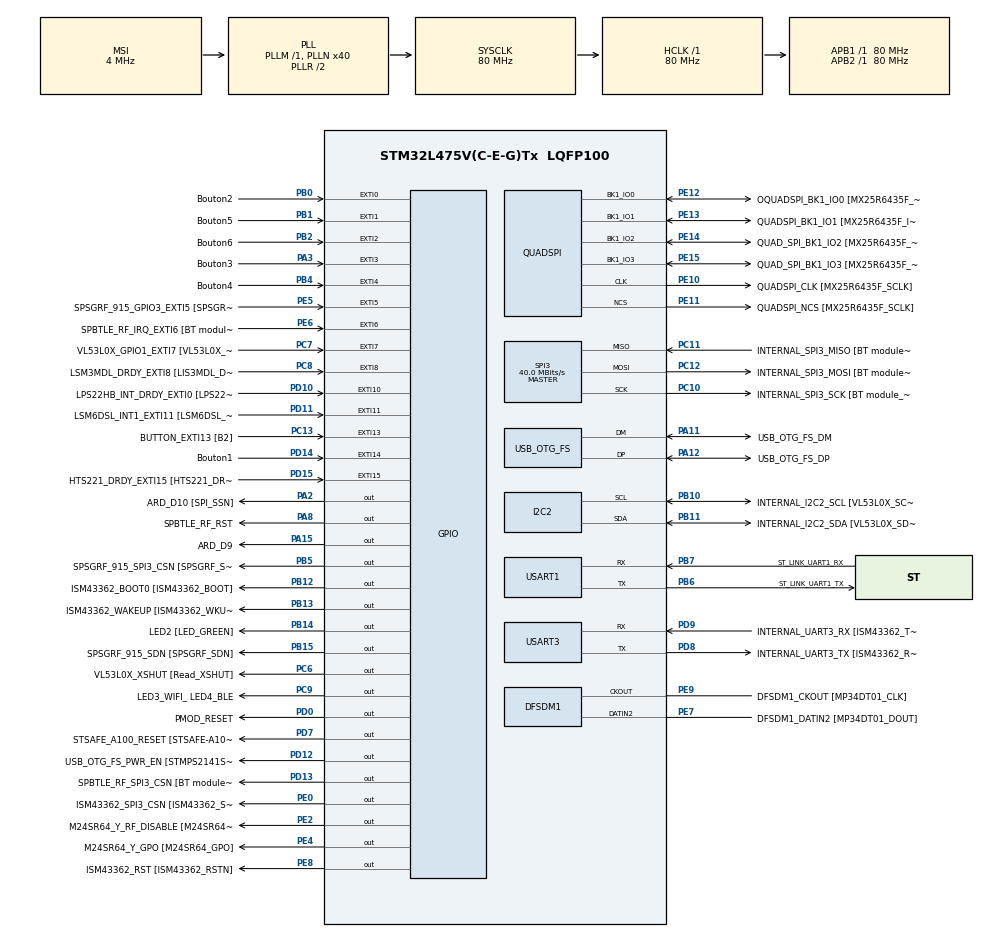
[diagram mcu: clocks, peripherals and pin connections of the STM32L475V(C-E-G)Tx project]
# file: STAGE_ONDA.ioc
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Mcu.Family=STM32L4
Mcu.Name=STM32L475V(C-E-G)Tx
Mcu.Package=LQFP100
NVIC.EXTI15_10_IRQn=true\:0\:0\:false\:false\:true\:true\:true\:true
NVIC.EXTI9_5_IRQn=true\:0\:0\:false\:false\:true\:true\:true\:true
NVIC.PriorityGroup=NVIC_PRIORITYGROUP_4
PA0.GPIO_Label=ARD_D1 [UART4_TX]
PA0.Signal=UART4_TX
PA1.GPIO_Label=ARD_D0 [UART4_RX]
PA1.Signal=UART4_RX
PA10.GPIO_Label=USB_OTG_FS_ID
PA10.Signal=USB_OTG_FS_ID
PA11.GPIO_Label=USB_OTG_FS_DM
PA11.Mode=Device_Only
PA11.Signal=USB_OTG_FS_DM
PA12.GPIO_Label=USB_OTG_FS_DP
PA12.Mode=Device_Only
PA12.Signal=USB_OTG_FS_DP
PA13\ (JTMS-SWDIO).GPIO_Label=SYS_JTMS_SWDIO
PA13\ (JTMS-SWDIO).Mode=Serial_Wire
PA13\ (JTMS-SWDIO).Signal=SYS_JTMS-SWDIO
PA14\ (JTCK-SWCLK).GPIO_Label=SYS_JTCK_SWCLK
PA14\ (JTCK-SWCLK).Mode=Serial_Wire
PA14\ (JTCK-SWCLK).Signal=SYS_JTCK-SWCLK
PA15\ (JTDI).GPIO_Label=ARD_D9
PA15\ (JTDI).Signal=GPIO_Output
PA2.GPIO_Label=ARD_D10 [SPI_SSN]
PA2.Signal=GPIO_Output
PA3.GPIO_Label=Bouton3
PA3.GPIO_ModeDefaultEXTI=GPIO_MODE_IT_RISING_FALLING
PA3.GPIO_PuPd=GPIO_PULLUP
PA3.Signal=GPXTI3
PA4.GPIO_Label=ARD_D7
PA4.Signal=ADCx_IN9
PA5.GPIO_Label=ARD_D13 [SPI1_SCK]
PA5.Signal=SPI1_SCK
PA6.GPIO_Label=ARD_D12 [SPI1_MISO]
PA6.Signal=SPI1_MISO
PA7.GPIO_Label=ARD_D11 [SPI1_MOSI]
PA7.Signal=SPI1_MOSI
PA8.GPIO_Label=SPBTLE_RF_RST
PA8.Signal=GPIO_Output
PA9.GPIO_Label=USB_OTG_FS_VBUS [STMPS2141STR_OUT]
PA9.Signal=USB_OTG_FS_VBUS
PB0.GPIO_Label=Bouton2
PB0.GPIO_ModeDefaultEXTI=GPIO_MODE_IT_RISING_FALLING
PB0.GPIO_PuPd=GPIO_PULLUP
PB0.Signal=GPXTI0
PB1.GPIO_Label=Bouton5
PB1.GPIO_ModeDefaultEXTI=GPIO_MODE_IT_RISING_FALLING
PB1.GPIO_PuPd=GPIO_PULLUP
PB1.Signal=GPXTI1
PB10.GPIO_Label=INTERNAL_I2C2_SCL [VL53L0X_SCL]
PB10.GPIO_Pu=GPIO_PULLUP
PB10.Mode=I2C
PB10.Signal=I2C2_SCL
PB11.GPIO_Label=INTERNAL_I2C2_SDA [VL53L0X_SDA]
PB11.GPIO_Pu=GPIO_PULLUP
PB11.Mode=I2C
PB11.Signal=I2C2_SDA
PB12.GPIO_Label=ISM43362_BOOT0 [ISM43362_BOOT]
PB12.Signal=GPIO_Output
PB13.GPIO_Label=ISM43362_WAKEUP [ISM43362_WKUP]
PB13.Signal=GPIO_Output
PB14.GPIO_Label=LED2 [LED_GREEN]
PB14.Signal=GPIO_Output
PB15.GPIO_Label=SPSGRF_915_SDN [SPSGRF_SDN]
PB15.Signal=GPIO_Output
PB2.GPIO_Label=Bouton6
PB2.GPIO_ModeDefaultEXTI=GPIO_MODE_IT_RISING_FALLING
PB2.GPIO_PuPd=GPIO_PULLUP
PB2.Signal=GPXTI2
PB3\ (JTDO-TRACESWO).GPIO_Label=SYS_JTD0_SWO
PB3\ (JTDO-TRACESWO).Signal=SYS_JTDO-SWO
PB4\ (NJTRST).GPIO_Label=Bouton4
PB4\ (NJTRST).GPIO_ModeDefaultEXTI=GPIO_MODE_IT_RISING_FALLING
PB4\ (NJTRST).GPIO_PuPd=GPIO_PULLUP
PB4\ (NJTRST).Signal=GPXTI4
PB5.GPIO_Label=SPSGRF_915_SPI3_CSN [SPSGRF_SPI_CS]
PB5.PinState=GPIO_PIN_SET
PB5.Signal=GPIO_Output
PB6.GPIO_Label=ST_LINK_UART1_TX
PB6.Mode=Asynchronous
PB6.Signal=USART1_TX
PB7.GPIO_Label=ST_LINK_UART1_RX
PB7.Mode=Asynchronous
PB7.Signal=USART1_RX
PB8.GPIO_Label=ARD_D15 [I2C1_SCL]
PB8.Signal=I2C1_SCL
PB9.GPIO_Label=ARD_D14 [I2C1_SDA]
PB9.Signal=I2C1_SDA
PC0.GPIO_Label=ARD_A5 [ADC]
PC0.Signal=ADCx_IN1
PC1.GPIO_Label=ARD_A4 [ADC]
PC1.Signal=ADCx_IN2
PC10.GPIO_Label=INTERNAL_SPI3_SCK [BT module_SPI_SCLK] [ISM43362_SCK]
PC10.Mode=Full_Duplex_Master
PC10.Signal=SPI3_SCK
PC11.GPIO_Label=INTERNAL_SPI3_MISO [BT module_SPI_MISO] [ISM43362_MISO]
PC11.Mode=Full_Duplex_Master
PC11.Signal=SPI3_MISO
PC12.GPIO_Label=INTERNAL_SPI3_MOSI [BT module_SPI_MOSI] [ISM43362_MOSI]
PC12.Mode=Full_Duplex_Master
PC12.Signal=SPI3_MOSI
PC13.GPIO_Label=BUTTON_EXTI13 [B2]
PC13.GPIO_ModeDefaultEXTI=GPIO_MODE_IT_FALLING
PC13.Signal=GPXTI13
PC14-OSC32_IN\ (PC14).Mode=LSE-External-Oscillator
PC14-OSC32_IN\ (PC14).Signal=RCC_OSC32_IN
PC15-OSC32_OUT\ (PC15).Mode=LSE-External-Oscillator
PC15-OSC32_OUT\ (PC15).Signal=RCC_OSC32_OUT
PC2.GPIO_Label=ARD_A3 [ADC]
PC2.Signal=ADCx_IN3
PC3.GPIO_Label=ARD_A2 [ADC]
PC3.Signal=ADCx_IN4
PC4.GPIO_Label=ARD_A1 [ADC]
PC4.Signal=ADCx_IN13
PC5.GPIO_Label=ARD_A0 [ADC]
PC5.Signal=ADCx_IN14
PC6.GPIO_Label=VL53L0X_XSHUT [Read_XSHUT]
PC6.Signal=GPIO_Output
PC7.GPIO_Label=VL53L0X_GPIO1_EXTI7 [VL53L0X_GPIO1]
PC7.Signal=GPXTI7
PC8.GPIO_Label=LSM3MDL_DRDY_EXTI8 [LIS3MDL_DRDY]
PC8.Signal=GPXTI8
PC9.GPIO_Label=LED3_WIFI_ LED4_BLE
PC9.Signal=GPIO_Output
PD0.GPIO_Label=PMOD_RESET
PD0.Signal=GPIO_Output
PD1.GPIO_Label=PMOD_SPI2_SCK
PD1.Signal=SPI2_SCK
PD10.GPIO_Label=LPS22HB_INT_DRDY_EXTI0 [LPS22HB_INT_DRDY] 
PD10.Signal=GPXTI10
PD11.GPIO_Label=LSM6DSL_INT1_EXTI11 [LSM6DSL_INT1]
PD11.Signal=GPXTI11
PD12.GPIO_Label=USB_OTG_FS_PWR_EN [STMPS2141STR_EN]
PD12.Signal=GPIO_Output
PD13.GPIO_Label=SPBTLE_RF_SPI3_CSN [BT module_SPI_CS]
PD13.PinState=GPIO_PIN_SET
PD13.Signal=GPIO_Output
PD14.GPIO_Label=Bouton1
PD14.GPIO_ModeDefaultEXTI=GPIO_MODE_IT_RISING_FALLING
PD14.GPIO_PuPd=GPIO_PULLUP
PD14.Signal=GPXTI14
PD15.GPIO_Label=HTS221_DRDY_EXTI15 [HTS221_DRDY]
PD15.Signal=GPXTI15
PD3.GPIO_Label=PMOD_UART2_CTS
PD3.Signal=USART2_CTS
PD4.GPIO_Label=PMOD_UART2_RTS
PD4.Signal=USART2_RTS
PD5.GPIO_Label=PMOD_UART2_TX
PD5.Signal=USART2_TX
PD6.GPIO_Label=PMOD_UART2_RX
PD6.Signal=USART2_RX
PD7.GPIO_Label=STSAFE_A100_RESET [STSAFE-A100_RESET]
PD7.Signal=GPIO_Output
PD8.GPIO_Label=INTERNAL_UART3_TX [ISM43362_RX]
PD8.Mode=Asynchronous
PD8.Signal=USART3_TX
PD9.GPIO_Label=INTERNAL_UART3_RX [ISM43362_TX]
PD9.Mode=Asynchronous
PD9.Signal=USART3_RX
PE0.GPIO_Label=ISM43362_SPI3_CSN [ISM43362_SSN]
PE0.PinState=GPIO_PIN_SET
PE0.Signal=GPIO_Output
PE10.GPIO_Label=QUADSPI_CLK [MX25R6435F_SCLK]
PE10.Mode=Single Bank
PE10.Signal=QUADSPI_CLK
PE11.GPIO_Label=QUADSPI_NCS [MX25R6435F_SCLK]
PE11.Mode=Single Bank
PE11.Signal=QUADSPI_NCS
PE12.GPIO_Label=OQUADSPI_BK1_IO0 [MX25R6435F_IO0]
PE12.Mode=Single Bank
PE12.Signal=QUADSPI_BK1_IO0
PE13.GPIO_Label=QUADSPI_BK1_IO1 [MX25R6435F_IO1]
PE13.Mode=Single Bank
PE13.Signal=QUADSPI_BK1_IO1
PE14.GPIO_Label=QUAD_SPI_BK1_IO2 [MX25R6435F_IO2]
PE14.Mode=Single Bank
PE14.Signal=QUADSPI_BK1_IO2
PE15.GPIO_Label=QUAD_SPI_BK1_IO3 [MX25R6435F_IO3]
PE15.Mode=Single Bank
PE15.Signal=QUADSPI_BK1_IO3
PE2.GPIO_Label=M24SR64_Y_RF_DISABLE [M24SR64_RFDIS]
PE2.Signal=GPIO_Output
PE4.GPIO_Label=M24SR64_Y_GPO [M24SR64_GPO]
PE4.Signal=GPIO_Output
PE5.GPIO_Label=SPSGRF_915_GPIO3_EXTI5 [SPSGRF_GPIO_3]
PE5.Signal=GPXTI5
PE6.GPIO_Label=SPBTLE_RF_IRQ_EXTI6 [BT module_SPI_IRQ]
PE6.Signal=GPXTI6
PE7.GPIO_Label=DFSDM1_DATIN2 [MP34DT01_DOUT]
PE7.Signal=S_DATAIN2DFSDM1
PE8.GPIO_Label=ISM43362_RST [ISM43362_RSTN]
PE8.Signal=GPIO_Output
PE9.GPIO_Label=DFSDM1_CKOUT [MP34DT01_CLK]
PE9.Signal=S_CKOUTDFSDM1
ProjectManager.HeapSize=0x200
ProjectManager.StackSize=0x400
ProjectManager.TargetToolchain=STM32CubeIDE
QUADSPI.ClockPrescaler=2
QUADSPI.FifoThreshold=4
QUADSPI.FlashSize=23
QUADSPI.SampleShifting=QSPI_SAMPLE_SHIFTING_HALFCYCLE
RCC.ADCFreq_Value=48000000
RCC.AHBFreq_Value=80000000
RCC.APB1Freq_Value=80000000
RCC.APB1TimFreq_Value=80000000
RCC.APB2Freq_Value=80000000
RCC.APB2TimFreq_Value=80000000
RCC.CortexFreq_Value=80000000
RCC.HCLKFreq_Value=80000000
RCC.HSE_VALUE=8000000
RCC.HSI_VALUE=16000000
RCC.MSI_VALUE=4000000
RCC.PLLN=40
RCC.PLLSAI1N=24
RCC.SYSCLKFreq_VALUE=80000000
RCC.SYSCLKSource=RCC_SYSCLKSOURCE_PLLCLK
RCC.USBFreq_Value=48000000
RCC.VCOOutputFreq_Value=160000000
SH.ADCx_IN1.0=ADC1_IN1
SH.ADCx_IN13.0=ADC1_IN13
SH.ADCx_IN14.0=ADC1_IN14
SH.ADCx_IN2.0=ADC1_IN2
SH.ADCx_IN3.0=ADC1_IN3
SH.ADCx_IN4.0=ADC1_IN4
SH.ADCx_IN9.0=ADC1_IN9
SH.S_CKOUTDFSDM1.0=DFSDM1_CKOUT,CKOUT
SH.S_CKOUTDFSDM1.1=DFSDM1_CKOUT,PDM_SPI_Input_from_ch12_and_Internal_Clock
SH.S_DATAIN2DFSDM1.0=DFSDM1_DATIN2,PDM_SPI_Input_from_ch12_and_Internal_Clock
SPI3.CalculateBaudRate=40.0 MBits/s
SPI3.Direction=SPI_DIRECTION_2LINES
SPI3.Mode=SPI_MODE_MASTER
SPI3.VirtualType=VM_MASTER
USART1.VirtualMode-Asynchronous=VM_ASYNC
USART3.VirtualMode-Asynchronous=VM_ASYNC
USB_OTG_FS.VirtualMode=Device_Only
board=B-L475E-IOT01A2

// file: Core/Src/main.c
/* USER CODE BEGIN Header */
/**
  ******************************************************************************
  * @file           : main.c
  * @brief          : Main program body
  ******************************************************************************
  * @attention
  *
  * Copyright (c) 2026 STMicroelectronics.
  * All rights reserved.
  *
  * This software is licensed under terms that can be found in the LICENSE file
  * in the root directory of this software component.
  * If no LICENSE file comes with this software, it is provided AS-IS.
  *
  ******************************************************************************
  */
/* USER CODE END Header */
#include "main.h"

/* USER CODE BEGIN Includes */
#include <string.h>
#include <stdio.h>
/* USER CODE END Includes */

/* USER CODE BEGIN PTD */
typedef struct
{
  GPIO_TypeDef *port;
  uint16_t pin;
  const char *button_name;
} ButtonDebug_t;

typedef enum
{
  CNS_STATE_NORMAL = 0U,
  CNS_STATE_WARNING,
  CNS_STATE_ALARME,
  CNS_STATE_HORS_SERVICE,
  CNS_STATE_COUNT
} CnsState_t;

typedef enum
{
  CNS_FAULT_OK = 0U,
  CNS_FAULT_FONCTION_PERDUE,
  CNS_FAULT_SIGNAL_PERDU,
  CNS_FAULT_TEMPERATURE_ELEVEE,
  CNS_FAULT_ALIMENTATION_COUPEE,
  CNS_FAULT_COUNT
} CnsFault_t;

typedef enum
{
  OND_FAULT_OK = 0U,
  OND_FAULT_SECTEUR_COUPE,
  OND_FAULT_BATTERIE_FAIBLE,
  OND_FAULT_ONDULEUR_HS,
  OND_FAULT_COUNT
} OnduleurFault_t;

typedef struct
{
  uint8_t index;
  CnsFault_t cns_fault;
  OnduleurFault_t onduleur_fault;
  uint8_t alarm_after_delay;
} AutoScenarioEvent_t;
/* USER CODE END PTD */

/* USER CODE BEGIN PD */
/* =========================
 * Protocole binaire CNSP v1
 * Trame : START | VERSION | ADRESSE | DEFAUT | ETAT | COMPTEUR | CHECKSUM
 * ========================= */
#define CNSP_START_BYTE                  0xAAU
#define CNSP_VERSION                     0x01U
#define CNSP_FRAME_SIZE                  7U

/* Adresses systemes */
#define CNSP_ADDR_DME                    0x01U
#define CNSP_ADDR_ILS_LOCALIZER          0x02U
#define CNSP_ADDR_GLIDE_SLOPE            0x03U
#define CNSP_ADDR_VHF                    0x04U
#define CNSP_ADDR_ADS_B                  0x05U
#define CNSP_ADDR_ONDULEUR               0x06U

/* Codes defauts CNS */
#define CNSP_FAULT_OK                    0x00U
#define CNSP_FAULT_FONCTION_PERDUE       0x01U
#define CNSP_FAULT_SIGNAL_PERDU          0x02U
#define CNSP_FAULT_TEMPERATURE_ELEVEE    0x03U
#define CNSP_FAULT_ALIMENTATION_COUPEE   0x04U

/* Codes defauts energie / onduleur */
#define CNSP_FAULT_SECTEUR_COUPE         0x10U
#define CNSP_FAULT_BATTERIE_FAIBLE       0x11U
#define CNSP_FAULT_ONDULEUR_HS           0x12U
#define CNSP_FAULT_ALIMENTATION_CNS      0x13U

/* Codes etats */
#define CNSP_STATE_NORMAL                0x00U
#define CNSP_STATE_WARNING               0x01U
#define CNSP_STATE_ALARME                0x02U
#define CNSP_STATE_HORS_SERVICE          0x03U

/*
 * CNS_UART_DEBUG_MODE :
 * 0U : aucun affichage UART
 * 1U : à chaque appui, affiche :
 *      CNS;DME;WARNING
 *      CNS_ALL;DME=WARNING;ILS_LOCALIZER=NORMAL;...
 * 2U : affichage périodique de tous les états CNS
 */
#define CNS_UART_DEBUG_MODE             1U

/*
 * Fréquence d'affichage pour le mode 2.
 * Exemple :
 * 1U  => 1 affichage par seconde
 * 2U  => 2 affichages par seconde
 * 5U  => 5 affichages par seconde
 */
#define CNS_STATE_PRINT_FREQ_HZ         1U

#define BUTTON_DEBOUNCE_MS              30U
#define DEBUG_UART                      (&huart1)
#define DEBUG_UART_TIMEOUT_MS           100U
#define BUTTON_COUNT                    6U
#define CNS_SYSTEM_COUNT                5U
#define ONDULEUR_INDEX                  5U
#define CNS_ALARM_DELAY_MS              5000U

/*
 * AUTO_SCENARIO_ENABLE :
 * 1U : la STM32 genere automatiquement les defauts et envoie les trames CNSP.
 * 0U : les boutons restent actifs pour les tests manuels.
 */
#define AUTO_SCENARIO_ENABLE            1U
#define AUTO_SCENARIO_PERIOD_MS         5000U

/* USER CODE END PD */

DFSDM_Channel_HandleTypeDef hdfsdm1_channel1;

I2C_HandleTypeDef hi2c2;

QSPI_HandleTypeDef hqspi;

SPI_HandleTypeDef hspi3;

UART_HandleTypeDef huart1;
UART_HandleTypeDef huart3;

PCD_HandleTypeDef hpcd_USB_OTG_FS;

/* USER CODE BEGIN PV */

static const ButtonDebug_t g_buttons[BUTTON_COUNT] =
{
  {Bouton1_GPIO_Port, Bouton1_Pin, "B1"},
  {Bouton2_GPIO_Port, Bouton2_Pin, "B2"},
  {Bouton3_GPIO_Port, Bouton3_Pin, "B3"},
  {Bouton4_GPIO_Port, Bouton4_Pin, "B4"},
  {Bouton5_GPIO_Port, Bouton5_Pin, "B5"},
  {Bouton6_GPIO_Port, Bouton6_Pin, "B6"}
};

static const char *g_cns_system_names[BUTTON_COUNT] =
{
  "DME",
  "ILS_LOCALIZER",
  "GLIDE_SLOPE",
  "VHF",
  "ADS_B",
  "ONDULEUR"
};

static const char *g_cns_state_names[CNS_STATE_COUNT] =
{
  "NORMAL",
  "WARNING",
  "ALARME",
  "HORS_SERVICE"
};

static const char *g_cns_fault_names[CNS_FAULT_COUNT] =
{
  "OK",
  "FONCTION_PERDUE",
  "SIGNAL_PERDU",
  "TEMPERATURE_ELEVEE",
  "ALIMENTATION_COUPEE"
};

static const char *g_onduleur_fault_names[OND_FAULT_COUNT] =
{
  "OK",
  "SECTEUR_COUPE",
  "BATTERIE_FAIBLE",
  "ONDULEUR_HS"
};

static volatile uint8_t g_button_event_pending[BUTTON_COUNT] = {0};
static volatile uint32_t g_button_last_irq_tick[BUTTON_COUNT] = {0};

static CnsFault_t g_cns_faults[BUTTON_COUNT] =
{
  CNS_FAULT_OK,
  CNS_FAULT_OK,
  CNS_FAULT_OK,
  CNS_FAULT_OK,
  CNS_FAULT_OK,
  CNS_FAULT_OK
};

static OnduleurFault_t g_onduleur_fault = OND_FAULT_OK;

static CnsState_t g_cns_states[BUTTON_COUNT] =
{
  CNS_STATE_NORMAL,
  CNS_STATE_NORMAL,
  CNS_STATE_NORMAL,
  CNS_STATE_NORMAL,
  CNS_STATE_NORMAL,
  CNS_STATE_NORMAL
};

static uint32_t g_fault_start_tick[BUTTON_COUNT] = {0U};
static uint32_t g_last_state_print_tick = 0U;
static uint8_t g_cnsp_counter = 0U;
static uint32_t g_auto_scenario_last_tick = 0U;
static uint8_t g_auto_scenario_step = 0U;

/*
 * Scenario automatique de demonstration.
 * Les boutons ne sont plus necessaires en mode AUTO_SCENARIO_ENABLE = 1U.
 * Chaque ligne simule un etat envoye par un equipement CNS via le protocole CNSP v1.
 */
static const AutoScenarioEvent_t g_auto_scenario[] =
{
  /* DME */
  {0U, CNS_FAULT_FONCTION_PERDUE,    OND_FAULT_OK, 0U},
  {0U, CNS_FAULT_FONCTION_PERDUE,    OND_FAULT_OK, 1U},
  {0U, CNS_FAULT_SIGNAL_PERDU,       OND_FAULT_OK, 0U},
  {0U, CNS_FAULT_SIGNAL_PERDU,       OND_FAULT_OK, 1U},
  {0U, CNS_FAULT_TEMPERATURE_ELEVEE, OND_FAULT_OK, 0U},
  {0U, CNS_FAULT_TEMPERATURE_ELEVEE, OND_FAULT_OK, 1U},
  {0U, CNS_FAULT_ALIMENTATION_COUPEE,OND_FAULT_OK, 0U},
  {0U, CNS_FAULT_OK,                 OND_FAULT_OK, 0U},

  /* ILS LOCALIZER */
  {1U, CNS_FAULT_FONCTION_PERDUE,    OND_FAULT_OK, 0U},
  {1U, CNS_FAULT_FONCTION_PERDUE,    OND_FAULT_OK, 1U},
  {1U, CNS_FAULT_SIGNAL_PERDU,       OND_FAULT_OK, 0U},
  {1U, CNS_FAULT_SIGNAL_PERDU,       OND_FAULT_OK, 1U},
  {1U, CNS_FAULT_TEMPERATURE_ELEVEE, OND_FAULT_OK, 0U},
  {1U, CNS_FAULT_TEMPERATURE_ELEVEE, OND_FAULT_OK, 1U},
  {1U, CNS_FAULT_ALIMENTATION_COUPEE,OND_FAULT_OK, 0U},
  {1U, CNS_FAULT_OK,                 OND_FAULT_OK, 0U},

  /* GLIDE SLOPE */
  {2U, CNS_FAULT_FONCTION_PERDUE,    OND_FAULT_OK, 0U},
  {2U, CNS_FAULT_FONCTION_PERDUE,    OND_FAULT_OK, 1U},
  {2U, CNS_FAULT_SIGNAL_PERDU,       OND_FAULT_OK, 0U},
  {2U, CNS_FAULT_SIGNAL_PERDU,       OND_FAULT_OK, 1U},
  {2U, CNS_FAULT_TEMPERATURE_ELEVEE, OND_FAULT_OK, 0U},
  {2U, CNS_FAULT_TEMPERATURE_ELEVEE, OND_FAULT_OK, 1U},
  {2U, CNS_FAULT_ALIMENTATION_COUPEE,OND_FAULT_OK, 0U},
  {2U, CNS_FAULT_OK,                 OND_FAULT_OK, 0U},

  /* VHF */
  {3U, CNS_FAULT_FONCTION_PERDUE,    OND_FAULT_OK, 0U},
  {3U, CNS_FAULT_FONCTION_PERDUE,    OND_FAULT_OK, 1U},
  {3U, CNS_FAULT_SIGNAL_PERDU,       OND_FAULT_OK, 0U},
  {3U, CNS_FAULT_SIGNAL_PERDU,       OND_FAULT_OK, 1U},
  {3U, CNS_FAULT_TEMPERATURE_ELEVEE, OND_FAULT_OK, 0U},
  {3U, CNS_FAULT_TEMPERATURE_ELEVEE, OND_FAULT_OK, 1U},
  {3U, CNS_FAULT_ALIMENTATION_COUPEE,OND_FAULT_OK, 0U},
  {3U, CNS_FAULT_OK,                 OND_FAULT_OK, 0U},

  /* ADS-B */
  {4U, CNS_FAULT_FONCTION_PERDUE,    OND_FAULT_OK, 0U},
  {4U, CNS_FAULT_FONCTION_PERDUE,    OND_FAULT_OK, 1U},
  {4U, CNS_FAULT_SIGNAL_PERDU,       OND_FAULT_OK, 0U},
  {4U, CNS_FAULT_SIGNAL_PERDU,       OND_FAULT_OK, 1U},
  {4U, CNS_FAULT_TEMPERATURE_ELEVEE, OND_FAULT_OK, 0U},
  {4U, CNS_FAULT_TEMPERATURE_ELEVEE, OND_FAULT_OK, 1U},
  {4U, CNS_FAULT_ALIMENTATION_COUPEE,OND_FAULT_OK, 0U},
  {4U, CNS_FAULT_OK,                 OND_FAULT_OK, 0U},

  /* ONDULEUR */
  {ONDULEUR_INDEX, CNS_FAULT_OK, OND_FAULT_SECTEUR_COUPE,   0U},
  {ONDULEUR_INDEX, CNS_FAULT_OK, OND_FAULT_BATTERIE_FAIBLE, 0U},
  {ONDULEUR_INDEX, CNS_FAULT_OK, OND_FAULT_ONDULEUR_HS,     0U},
  {ONDULEUR_INDEX, CNS_FAULT_OK, OND_FAULT_OK,              0U}
};

#define AUTO_SCENARIO_COUNT ((uint8_t)(sizeof(g_auto_scenario) / sizeof(g_auto_scenario[0])))

/* USER CODE END PV */

void SystemClock_Config(void);
static void MX_GPIO_Init(void);
static void MX_DFSDM1_Init(void);
static void MX_I2C2_Init(void);
static void MX_QUADSPI_Init(void);
static void MX_SPI3_Init(void);
static void MX_USART1_UART_Init(void);
static void MX_USART3_UART_Init(void);
static void MX_USB_OTG_FS_PCD_Init(void);
/* USER CODE BEGIN PFP */

static void UART_SendString(const char *text);
static int8_t Button_GetIndexFromPin(uint16_t GPIO_Pin);
static uint8_t Button_IsPressed(uint8_t index);
static void Cns_GoToNextFault(uint8_t index);
static void Onduleur_GoToNextFault(void);
static CnsState_t Onduleur_DecideState(void);
static CnsState_t Cns_DecideState(uint8_t index);
static uint8_t Cns_AnySystemPowerFault(void);
static void Cns_DecisionTask(void);
static uint32_t Cns_GetStatePrintPeriodMs(void);
static void Cns_UART_EventTask(void);
static void Cns_UART_AllStatesTask(void);
static void Cns_UART_SendAllStates(void);
static void Cns_UART_SendEvent(uint8_t index);
static void Cns_UART_SendDiag(uint8_t index);
static uint8_t CNSP_GetAddress(uint8_t index);
static uint8_t CNSP_GetStateCode(CnsState_t state);
static uint8_t CNSP_GetFaultCode(uint8_t index);
static uint8_t CNSP_ComputeChecksum(const uint8_t *frame);
static void CNSP_SendFrame(uint8_t index);
static void AutoScenario_ApplyEvent(const AutoScenarioEvent_t *event);
static void AutoScenario_Task(void);

/* USER CODE END PFP */

/* USER CODE BEGIN 0 */

static void UART_SendString(const char *text)
{
  if (text == NULL)
  {
    return;
  }

  HAL_UART_Transmit(DEBUG_UART,
                    (uint8_t *)text,
                    (uint16_t)strlen(text),
                    DEBUG_UART_TIMEOUT_MS);
}

static uint8_t CNSP_GetAddress(uint8_t index)
{
  switch (index)
  {
    case 0U: return CNSP_ADDR_DME;
    case 1U: return CNSP_ADDR_ILS_LOCALIZER;
    case 2U: return CNSP_ADDR_GLIDE_SLOPE;
    case 3U: return CNSP_ADDR_VHF;
    case 4U: return CNSP_ADDR_ADS_B;
    case 5U: return CNSP_ADDR_ONDULEUR;
    default: return 0x00U;
  }
}

static uint8_t CNSP_GetStateCode(CnsState_t state)
{
  switch (state)
  {
    case CNS_STATE_NORMAL:       return CNSP_STATE_NORMAL;
    case CNS_STATE_WARNING:      return CNSP_STATE_WARNING;
    case CNS_STATE_ALARME:       return CNSP_STATE_ALARME;
    case CNS_STATE_HORS_SERVICE: return CNSP_STATE_HORS_SERVICE;
    default:                     return CNSP_STATE_NORMAL;
  }
}

static uint8_t CNSP_GetFaultCode(uint8_t index)
{
  if (index >= BUTTON_COUNT)
  {
    return CNSP_FAULT_OK;
  }

  if (index == ONDULEUR_INDEX)
  {
    if ((g_onduleur_fault == OND_FAULT_OK) && (Cns_AnySystemPowerFault() != 0U))
    {
      return CNSP_FAULT_ALIMENTATION_CNS;
    }

    switch (g_onduleur_fault)
    {
      case OND_FAULT_OK:              return CNSP_FAULT_OK;
      case OND_FAULT_SECTEUR_COUPE:   return CNSP_FAULT_SECTEUR_COUPE;
      case OND_FAULT_BATTERIE_FAIBLE: return CNSP_FAULT_BATTERIE_FAIBLE;
      case OND_FAULT_ONDULEUR_HS:     return CNSP_FAULT_ONDULEUR_HS;
      default:                        return CNSP_FAULT_OK;
    }
  }

  switch (g_cns_faults[index])
  {
    case CNS_FAULT_OK:                  return CNSP_FAULT_OK;
    case CNS_FAULT_FONCTION_PERDUE:     return CNSP_FAULT_FONCTION_PERDUE;
    case CNS_FAULT_SIGNAL_PERDU:        return CNSP_FAULT_SIGNAL_PERDU;
    case CNS_FAULT_TEMPERATURE_ELEVEE:  return CNSP_FAULT_TEMPERATURE_ELEVEE;
    case CNS_FAULT_ALIMENTATION_COUPEE: return CNSP_FAULT_ALIMENTATION_COUPEE;
    default:                            return CNSP_FAULT_OK;
  }
}

static uint8_t CNSP_ComputeChecksum(const uint8_t *frame)
{
  uint16_t sum = 0U;

  for (uint8_t i = 0U; i < (CNSP_FRAME_SIZE - 1U); i++)
  {
    sum = (uint16_t)(sum + frame[i]);
  }

  return (uint8_t)(sum & 0xFFU);
}

static void CNSP_SendFrame(uint8_t index)
{
  if (index >= BUTTON_COUNT)
  {
    return;
  }

  uint8_t frame[CNSP_FRAME_SIZE];

  frame[0] = CNSP_START_BYTE;
  frame[1] = CNSP_VERSION;
  frame[2] = CNSP_GetAddress(index);
  frame[3] = CNSP_GetFaultCode(index);
  frame[4] = CNSP_GetStateCode(g_cns_states[index]);
  frame[5] = g_cnsp_counter++;
  frame[6] = CNSP_ComputeChecksum(frame);

  HAL_UART_Transmit(DEBUG_UART, frame, CNSP_FRAME_SIZE, DEBUG_UART_TIMEOUT_MS);
}

static int8_t Button_GetIndexFromPin(uint16_t GPIO_Pin)
{
  for (uint8_t i = 0U; i < BUTTON_COUNT; i++)
  {
    if (GPIO_Pin == g_buttons[i].pin)
    {
      return (int8_t)i;
    }
  }

  return -1;
}

static uint8_t Button_IsPressed(uint8_t index)
{
  if (index >= BUTTON_COUNT)
  {
    return 0U;
  }

  /*
   * Bouton câblé entre GPIO et GND avec pull-up :
   * relâché = GPIO_PIN_SET
   * appuyé  = GPIO_PIN_RESET
   */
  if (HAL_GPIO_ReadPin(g_buttons[index].port, g_buttons[index].pin) == GPIO_PIN_RESET)
  {
    return 1U;
  }

  return 0U;
}

static void Cns_GoToNextFault(uint8_t index)
{
  if (index >= BUTTON_COUNT)
  {
    return;
  }

  /*
   * B6 represente l'ONDULEUR et simule des defauts energie.
   * Il n'utilise pas les memes defauts que les systemes CNS.
   */
  if (index == ONDULEUR_INDEX)
  {
    Onduleur_GoToNextFault();
    return;
  }

  g_cns_faults[index] = (CnsFault_t)(((uint32_t)g_cns_faults[index] + 1U) % CNS_FAULT_COUNT);
  g_fault_start_tick[index] = HAL_GetTick();
  g_cns_states[index] = Cns_DecideState(index);
}

static void Onduleur_GoToNextFault(void)
{
  g_onduleur_fault = (OnduleurFault_t)(((uint32_t)g_onduleur_fault + 1U) % OND_FAULT_COUNT);
  g_fault_start_tick[ONDULEUR_INDEX] = HAL_GetTick();
  g_cns_states[ONDULEUR_INDEX] = Onduleur_DecideState();
}

static CnsState_t Onduleur_DecideState(void)
{
  /*
   * L'onduleur est un systeme support energie.
   * - SECTEUR_COUPE : les systemes restent alimentes par batterie -> WARNING
   * - BATTERIE_FAIBLE : risque de perte d'alimentation -> ALARME
   * - ONDULEUR_HS : plus de support energie -> HORS_SERVICE
   * - Si un systeme CNS signale ALIMENTATION_COUPEE, l'onduleur passe ALARME.
   */
  if (g_onduleur_fault == OND_FAULT_ONDULEUR_HS)
  {
    return CNS_STATE_HORS_SERVICE;
  }

  if (g_onduleur_fault == OND_FAULT_BATTERIE_FAIBLE)
  {
    return CNS_STATE_ALARME;
  }

  if (g_onduleur_fault == OND_FAULT_SECTEUR_COUPE)
  {
    return CNS_STATE_WARNING;
  }

  if (Cns_AnySystemPowerFault() != 0U)
  {
    return CNS_STATE_ALARME;
  }

  return CNS_STATE_NORMAL;
}

static uint8_t Cns_AnySystemPowerFault(void)
{
  /*
   * Les 5 premiers elements sont les systemes CNS :
   * DME, ILS_LOCALIZER, GLIDE_SLOPE, VHF, ADS_B.
   *
   * Si l'un de ces systemes a un defaut ALIMENTATION_COUPEE,
   * l'onduleur doit passer en ALARME car il assure l'alimentation
   * de plusieurs systemes.
   */
  for (uint8_t i = 0U; i < CNS_SYSTEM_COUNT; i++)
  {
    if (g_cns_faults[i] == CNS_FAULT_ALIMENTATION_COUPEE)
    {
      return 1U;
    }
  }

  return 0U;
}

static CnsState_t Cns_DecideState(uint8_t index)
{
  if (index >= BUTTON_COUNT)
  {
    return CNS_STATE_NORMAL;
  }

  if (index == ONDULEUR_INDEX)
  {
    return Onduleur_DecideState();
  }

  /*
   * Si l'onduleur est totalement HS, les systemes alimentes par lui
   * deviennent hors service.
   */
  if (g_onduleur_fault == OND_FAULT_ONDULEUR_HS)
  {
    return CNS_STATE_HORS_SERVICE;
  }

  CnsFault_t fault = g_cns_faults[index];

  if (fault == CNS_FAULT_OK)
  {
    return CNS_STATE_NORMAL;
  }

  if (fault == CNS_FAULT_ALIMENTATION_COUPEE)
  {
    return CNS_STATE_HORS_SERVICE;
  }

  if ((HAL_GetTick() - g_fault_start_tick[index]) >= CNS_ALARM_DELAY_MS)
  {
    return CNS_STATE_ALARME;
  }

  return CNS_STATE_WARNING;
}

static void Cns_DecisionTask(void)
{
  /*
   * Machine d'etats embarquee :
   * - 5 systemes CNS : OK -> NORMAL
   * - 5 systemes CNS : ALIMENTATION_COUPEE -> HORS_SERVICE
   * - autres defauts -> WARNING puis ALARME apres CNS_ALARM_DELAY_MS
   * - ONDULEUR : support energie, passe en ALARME si un systeme CNS
   *   signale ALIMENTATION_COUPEE
   */
  for (uint8_t i = 0U; i < BUTTON_COUNT; i++)
  {
    CnsState_t new_state = Cns_DecideState(i);

    if (new_state != g_cns_states[i])
    {
      g_cns_states[i] = new_state;

      if (CNS_UART_DEBUG_MODE == 1U)
      {
        Cns_UART_SendEvent(i);
        Cns_UART_SendDiag(i);
        Cns_UART_SendAllStates();
      }
    }
  }
}

static uint32_t Cns_GetStatePrintPeriodMs(void)
{
  uint32_t freq_hz = CNS_STATE_PRINT_FREQ_HZ;

  if (freq_hz == 0U)
  {
    return 1000U;
  }

  uint32_t period_ms = 1000U / freq_hz;

  if (period_ms == 0U)
  {
    period_ms = 1U;
  }

  return period_ms;
}

static void Cns_UART_SendAllStates(void)
{
  /*
   * Vue globale CNSP : on envoie une trame binaire pour chaque systeme.
   */
  for (uint8_t i = 0U; i < BUTTON_COUNT; i++)
  {
    CNSP_SendFrame(i);
  }
}

static void Cns_UART_SendEvent(uint8_t index)
{
  /*
   * En CNSP, l'evenement est transporte par la meme trame binaire
   * que le diagnostic : adresse + defaut + etat.
   */
  CNSP_SendFrame(index);
}

static void Cns_UART_SendDiag(uint8_t index)
{
  /*
   * Diagnostic CNSP v1 : START | VERSION | ADRESSE | DEFAUT | ETAT | COMPTEUR | CHECKSUM
   */
  CNSP_SendFrame(index);
}

static void AutoScenario_ApplyEvent(const AutoScenarioEvent_t *event)
{
  if (event == NULL)
  {
    return;
  }

  uint32_t now = HAL_GetTick();
  uint8_t index = event->index;

  if (index >= BUTTON_COUNT)
  {
    return;
  }

  if (index == ONDULEUR_INDEX)
  {
    g_onduleur_fault = event->onduleur_fault;
    g_fault_start_tick[ONDULEUR_INDEX] = now;
    g_cns_states[ONDULEUR_INDEX] = Onduleur_DecideState();
  }
  else
  {
    g_cns_faults[index] = event->cns_fault;

    if ((event->alarm_after_delay != 0U) &&
        (event->cns_fault != CNS_FAULT_OK) &&
        (event->cns_fault != CNS_FAULT_ALIMENTATION_COUPEE))
    {
      g_fault_start_tick[index] = now - CNS_ALARM_DELAY_MS;
    }
    else
    {
      g_fault_start_tick[index] = now;
    }

    g_cns_states[index] = Cns_DecideState(index);

    /* L'etat de l'onduleur peut dependre d'un defaut alimentation d'un systeme CNS. */
    g_cns_states[ONDULEUR_INDEX] = Onduleur_DecideState();
  }

  /* En demonstration, on envoie la vue complete apres chaque evenement. */
  Cns_UART_SendAllStates();
}

static void AutoScenario_Task(void)
{
#if (AUTO_SCENARIO_ENABLE == 1U)
  uint32_t now = HAL_GetTick();

  if ((now - g_auto_scenario_last_tick) < AUTO_SCENARIO_PERIOD_MS)
  {
    return;
  }

  g_auto_scenario_last_tick = now;

  AutoScenario_ApplyEvent(&g_auto_scenario[g_auto_scenario_step]);

  g_auto_scenario_step++;
  if (g_auto_scenario_step >= AUTO_SCENARIO_COUNT)
  {
    g_auto_scenario_step = 0U;
  }
#endif
}

static void Cns_UART_EventTask(void)
{
  if (CNS_UART_DEBUG_MODE != 1U)
  {
    return;
  }

  for (uint8_t i = 0U; i < BUTTON_COUNT; i++)
  {
    uint8_t pending = 0U;

    __disable_irq();
    pending = g_button_event_pending[i];
    g_button_event_pending[i] = 0U;
    __enable_irq();

    if (pending != 0U)
    {
      Cns_GoToNextFault(i);

      Cns_UART_SendEvent(i);
      Cns_UART_SendDiag(i);
      Cns_UART_SendAllStates();
    }
  }
}

static void Cns_UART_AllStatesTask(void)
{
  if (CNS_UART_DEBUG_MODE != 2U)
  {
    return;
  }

  uint32_t now = HAL_GetTick();
  uint32_t period_ms = Cns_GetStatePrintPeriodMs();

  if ((now - g_last_state_print_tick) < period_ms)
  {
    return;
  }

  g_last_state_print_tick = now;

  Cns_UART_SendAllStates();
}

/* USER CODE END 0 */

int main(void)
{

  HAL_Init();

  SystemClock_Config();

  MX_GPIO_Init();
  MX_DFSDM1_Init();
  MX_I2C2_Init();
  MX_QUADSPI_Init();
  MX_SPI3_Init();
  MX_USART1_UART_Init();
  MX_USART3_UART_Init();
  MX_USB_OTG_FS_PCD_Init();

  /* USER CODE BEGIN 2 */
  /*
   * Version V2 : protocole binaire CNSP v1.
   * La STM32 n'envoie plus de texte ASCII.
   * Elle envoie des trames de 7 octets :
   * AA | 01 | ADRESSE | DEFAUT | ETAT | COMPTEUR | CHECKSUM
   */
  Cns_UART_SendAllStates();
  /* USER CODE END 2 */

  while (1)
  {
    /* USER CODE END WHILE */

    /* USER CODE BEGIN 3 */
#if (AUTO_SCENARIO_ENABLE == 1U)
    AutoScenario_Task();
#else
    Cns_UART_EventTask();
#endif
    Cns_DecisionTask();
    Cns_UART_AllStatesTask();
  }
  /* USER CODE END 3 */
}

void SystemClock_Config(void)
{
  RCC_OscInitTypeDef RCC_OscInitStruct = {0};
  RCC_ClkInitTypeDef RCC_ClkInitStruct = {0};

  if (HAL_PWREx_ControlVoltageScaling(PWR_REGULATOR_VOLTAGE_SCALE1) != HAL_OK)
  {
    Error_Handler();
  }

  HAL_PWR_EnableBkUpAccess();
  __HAL_RCC_LSEDRIVE_CONFIG(RCC_LSEDRIVE_LOW);

  RCC_OscInitStruct.OscillatorType = RCC_OSCILLATORTYPE_LSE|RCC_OSCILLATORTYPE_MSI;
  RCC_OscInitStruct.LSEState = RCC_LSE_ON;
  RCC_OscInitStruct.MSIState = RCC_MSI_ON;
  RCC_OscInitStruct.MSICalibrationValue = 0;
  RCC_OscInitStruct.MSIClockRange = RCC_MSIRANGE_6;
  RCC_OscInitStruct.PLL.PLLState = RCC_PLL_ON;
  RCC_OscInitStruct.PLL.PLLSource = RCC_PLLSOURCE_MSI;
  RCC_OscInitStruct.PLL.PLLM = 1;
  RCC_OscInitStruct.PLL.PLLN = 40;
  RCC_OscInitStruct.PLL.PLLP = RCC_PLLP_DIV7;
  RCC_OscInitStruct.PLL.PLLQ = RCC_PLLQ_DIV2;
  RCC_OscInitStruct.PLL.PLLR = RCC_PLLR_DIV2;

  if (HAL_RCC_OscConfig(&RCC_OscInitStruct) != HAL_OK)
  {
    Error_Handler();
  }

  RCC_ClkInitStruct.ClockType = RCC_CLOCKTYPE_HCLK|RCC_CLOCKTYPE_SYSCLK
                              |RCC_CLOCKTYPE_PCLK1|RCC_CLOCKTYPE_PCLK2;
  RCC_ClkInitStruct.SYSCLKSource = RCC_SYSCLKSOURCE_PLLCLK;
  RCC_ClkInitStruct.AHBCLKDivider = RCC_SYSCLK_DIV1;
  RCC_ClkInitStruct.APB1CLKDivider = RCC_HCLK_DIV1;
  RCC_ClkInitStruct.APB2CLKDivider = RCC_HCLK_DIV1;

  if (HAL_RCC_ClockConfig(&RCC_ClkInitStruct, FLASH_LATENCY_4) != HAL_OK)
  {
    Error_Handler();
  }

  HAL_RCCEx_EnableMSIPLLMode();
}

static void MX_DFSDM1_Init(void)
{
  hdfsdm1_channel1.Instance = DFSDM1_Channel1;
  hdfsdm1_channel1.Init.OutputClock.Activation = ENABLE;
  hdfsdm1_channel1.Init.OutputClock.Selection = DFSDM_CHANNEL_OUTPUT_CLOCK_SYSTEM;
  hdfsdm1_channel1.Init.OutputClock.Divider = 2;
  hdfsdm1_channel1.Init.Input.Multiplexer = DFSDM_CHANNEL_EXTERNAL_INPUTS;
  hdfsdm1_channel1.Init.Input.DataPacking = DFSDM_CHANNEL_STANDARD_MODE;
  hdfsdm1_channel1.Init.Input.Pins = DFSDM_CHANNEL_FOLLOWING_CHANNEL_PINS;
  hdfsdm1_channel1.Init.SerialInterface.Type = DFSDM_CHANNEL_SPI_RISING;
  hdfsdm1_channel1.Init.SerialInterface.SpiClock = DFSDM_CHANNEL_SPI_CLOCK_INTERNAL;
  hdfsdm1_channel1.Init.Awd.FilterOrder = DFSDM_CHANNEL_FASTSINC_ORDER;
  hdfsdm1_channel1.Init.Awd.Oversampling = 1;
  hdfsdm1_channel1.Init.Offset = 0;
  hdfsdm1_channel1.Init.RightBitShift = 0x00;

  if (HAL_DFSDM_ChannelInit(&hdfsdm1_channel1) != HAL_OK)
  {
    Error_Handler();
  }
}

static void MX_I2C2_Init(void)
{
  hi2c2.Instance = I2C2;
  hi2c2.Init.Timing = 0x00000E14;
  hi2c2.Init.OwnAddress1 = 0;
  hi2c2.Init.AddressingMode = I2C_ADDRESSINGMODE_7BIT;
  hi2c2.Init.DualAddressMode = I2C_DUALADDRESS_DISABLE;
  hi2c2.Init.OwnAddress2 = 0;
  hi2c2.Init.OwnAddress2Masks = I2C_OA2_NOMASK;
  hi2c2.Init.GeneralCallMode = I2C_GENERALCALL_DISABLE;
  hi2c2.Init.NoStretchMode = I2C_NOSTRETCH_DISABLE;

  if (HAL_I2C_Init(&hi2c2) != HAL_OK)
  {
    Error_Handler();
  }

  if (HAL_I2CEx_ConfigAnalogFilter(&hi2c2, I2C_ANALOGFILTER_ENABLE) != HAL_OK)
  {
    Error_Handler();
  }

  if (HAL_I2CEx_ConfigDigitalFilter(&hi2c2, 0) != HAL_OK)
  {
    Error_Handler();
  }
}

static void MX_QUADSPI_Init(void)
{
  hqspi.Instance = QUADSPI;
  hqspi.Init.ClockPrescaler = 2;
  hqspi.Init.FifoThreshold = 4;
  hqspi.Init.SampleShifting = QSPI_SAMPLE_SHIFTING_HALFCYCLE;
  hqspi.Init.FlashSize = 23;
  hqspi.Init.ChipSelectHighTime = QSPI_CS_HIGH_TIME_1_CYCLE;
  hqspi.Init.ClockMode = QSPI_CLOCK_MODE_0;

  if (HAL_QSPI_Init(&hqspi) != HAL_OK)
  {
    Error_Handler();
  }
}

static void MX_SPI3_Init(void)
{
  hspi3.Instance = SPI3;
  hspi3.Init.Mode = SPI_MODE_MASTER;
  hspi3.Init.Direction = SPI_DIRECTION_2LINES;
  hspi3.Init.DataSize = SPI_DATASIZE_4BIT;
  hspi3.Init.CLKPolarity = SPI_POLARITY_LOW;
  hspi3.Init.CLKPhase = SPI_PHASE_1EDGE;
  hspi3.Init.NSS = SPI_NSS_SOFT;
  hspi3.Init.BaudRatePrescaler = SPI_BAUDRATEPRESCALER_2;
  hspi3.Init.FirstBit = SPI_FIRSTBIT_MSB;
  hspi3.Init.TIMode = SPI_TIMODE_DISABLE;
  hspi3.Init.CRCCalculation = SPI_CRCCALCULATION_DISABLE;
  hspi3.Init.CRCPolynomial = 7;
  hspi3.Init.CRCLength = SPI_CRC_LENGTH_DATASIZE;
  hspi3.Init.NSSPMode = SPI_NSS_PULSE_ENABLE;

  if (HAL_SPI_Init(&hspi3) != HAL_OK)
  {
    Error_Handler();
  }
}

static void MX_USART1_UART_Init(void)
{
  huart1.Instance = USART1;
  huart1.Init.BaudRate = 115200;
  huart1.Init.WordLength = UART_WORDLENGTH_8B;
  huart1.Init.StopBits = UART_STOPBITS_1;
  huart1.Init.Parity = UART_PARITY_NONE;
  huart1.Init.Mode = UART_MODE_TX_RX;
  huart1.Init.HwFlowCtl = UART_HWCONTROL_NONE;
  huart1.Init.OverSampling = UART_OVERSAMPLING_16;
  huart1.Init.OneBitSampling = UART_ONE_BIT_SAMPLE_DISABLE;
  huart1.AdvancedInit.AdvFeatureInit = UART_ADVFEATURE_NO_INIT;

  if (HAL_UART_Init(&huart1) != HAL_OK)
  {
    Error_Handler();
  }
}

static void MX_USART3_UART_Init(void)
{
  huart3.Instance = USART3;
  huart3.Init.BaudRate = 115200;
  huart3.Init.WordLength = UART_WORDLENGTH_8B;
  huart3.Init.StopBits = UART_STOPBITS_1;
  huart3.Init.Parity = UART_PARITY_NONE;
  huart3.Init.Mode = UART_MODE_TX_RX;
  huart3.Init.HwFlowCtl = UART_HWCONTROL_NONE;
  huart3.Init.OverSampling = UART_OVERSAMPLING_16;
  huart3.Init.OneBitSampling = UART_ONE_BIT_SAMPLE_DISABLE;
  huart3.AdvancedInit.AdvFeatureInit = UART_ADVFEATURE_NO_INIT;

  if (HAL_UART_Init(&huart3) != HAL_OK)
  {
    Error_Handler();
  }
}

static void MX_USB_OTG_FS_PCD_Init(void)
{
  hpcd_USB_OTG_FS.Instance = USB_OTG_FS;
  hpcd_USB_OTG_FS.Init.dev_endpoints = 6;
  hpcd_USB_OTG_FS.Init.speed = PCD_SPEED_FULL;
  hpcd_USB_OTG_FS.Init.phy_itface = PCD_PHY_EMBEDDED;
  hpcd_USB_OTG_FS.Init.Sof_enable = DISABLE;
  hpcd_USB_OTG_FS.Init.low_power_enable = DISABLE;
  hpcd_USB_OTG_FS.Init.lpm_enable = DISABLE;
  hpcd_USB_OTG_FS.Init.battery_charging_enable = DISABLE;
  hpcd_USB_OTG_FS.Init.use_dedicated_ep1 = DISABLE;
  hpcd_USB_OTG_FS.Init.vbus_sensing_enable = DISABLE;

  if (HAL_PCD_Init(&hpcd_USB_OTG_FS) != HAL_OK)
  {
    Error_Handler();
  }
}

static void MX_GPIO_Init(void)
{
  GPIO_InitTypeDef GPIO_InitStruct = {0};

  /* GPIO Ports Clock Enable */
  __HAL_RCC_GPIOE_CLK_ENABLE();
  __HAL_RCC_GPIOC_CLK_ENABLE();
  __HAL_RCC_GPIOA_CLK_ENABLE();
  __HAL_RCC_GPIOB_CLK_ENABLE();
  __HAL_RCC_GPIOD_CLK_ENABLE();

  /*Configure GPIO pin Output Level */
  HAL_GPIO_WritePin(GPIOE, M24SR64_Y_RF_DISABLE_Pin|M24SR64_Y_GPO_Pin|ISM43362_RST_Pin, GPIO_PIN_RESET);

  /*Configure GPIO pin Output Level */
  HAL_GPIO_WritePin(GPIOA, ARD_D10_Pin|SPBTLE_RF_RST_Pin|ARD_D9_Pin, GPIO_PIN_RESET);

  /*Configure GPIO pin Output Level */
  HAL_GPIO_WritePin(GPIOB, ISM43362_BOOT0_Pin|ISM43362_WAKEUP_Pin|LED2_Pin|SPSGRF_915_SDN_Pin, GPIO_PIN_RESET);

  /*Configure GPIO pin Output Level */
  HAL_GPIO_WritePin(GPIOD, USB_OTG_FS_PWR_EN_Pin|PMOD_RESET_Pin|STSAFE_A100_RESET_Pin, GPIO_PIN_RESET);

  /*Configure GPIO pin Output Level */
  HAL_GPIO_WritePin(SPBTLE_RF_SPI3_CSN_GPIO_Port, SPBTLE_RF_SPI3_CSN_Pin, GPIO_PIN_SET);

  /*Configure GPIO pin Output Level */
  HAL_GPIO_WritePin(GPIOC, VL53L0X_XSHUT_Pin|LED3_WIFI__LED4_BLE_Pin, GPIO_PIN_RESET);

  /*Configure GPIO pin Output Level */
  HAL_GPIO_WritePin(SPSGRF_915_SPI3_CSN_GPIO_Port, SPSGRF_915_SPI3_CSN_Pin, GPIO_PIN_SET);

  /*Configure GPIO pin Output Level */
  HAL_GPIO_WritePin(ISM43362_SPI3_CSN_GPIO_Port, ISM43362_SPI3_CSN_Pin, GPIO_PIN_SET);

  GPIO_InitStruct.Pin = M24SR64_Y_RF_DISABLE_Pin|M24SR64_Y_GPO_Pin|ISM43362_RST_Pin|ISM43362_SPI3_CSN_Pin;
  GPIO_InitStruct.Mode = GPIO_MODE_OUTPUT_PP;
  GPIO_InitStruct.Pull = GPIO_NOPULL;
  GPIO_InitStruct.Speed = GPIO_SPEED_FREQ_LOW;
  HAL_GPIO_Init(GPIOE, &GPIO_InitStruct);

  GPIO_InitStruct.Pin = SPSGRF_915_GPIO3_EXTI5_Pin|SPBTLE_RF_IRQ_EXTI6_Pin;
  GPIO_InitStruct.Mode = GPIO_MODE_IT_RISING;
  GPIO_InitStruct.Pull = GPIO_NOPULL;
  HAL_GPIO_Init(GPIOE, &GPIO_InitStruct);

  GPIO_InitStruct.Pin = BUTTON_EXTI13_Pin;
  GPIO_InitStruct.Mode = GPIO_MODE_IT_FALLING;
  GPIO_InitStruct.Pull = GPIO_NOPULL;
  HAL_GPIO_Init(BUTTON_EXTI13_GPIO_Port, &GPIO_InitStruct);

  GPIO_InitStruct.Pin = ARD_A5_Pin|ARD_A4_Pin|ARD_A3_Pin|ARD_A2_Pin
                          |ARD_A1_Pin|ARD_A0_Pin;
  GPIO_InitStruct.Mode = GPIO_MODE_ANALOG_ADC_CONTROL;
  GPIO_InitStruct.Pull = GPIO_NOPULL;
  HAL_GPIO_Init(GPIOC, &GPIO_InitStruct);

  GPIO_InitStruct.Pin = ARD_D1_Pin|ARD_D0_Pin;
  GPIO_InitStruct.Mode = GPIO_MODE_AF_PP;
  GPIO_InitStruct.Pull = GPIO_NOPULL;
  GPIO_InitStruct.Speed = GPIO_SPEED_FREQ_VERY_HIGH;
  GPIO_InitStruct.Alternate = GPIO_AF8_UART4;
  HAL_GPIO_Init(GPIOA, &GPIO_InitStruct);

  GPIO_InitStruct.Pin = ARD_D10_Pin|SPBTLE_RF_RST_Pin|ARD_D9_Pin;
  GPIO_InitStruct.Mode = GPIO_MODE_OUTPUT_PP;
  GPIO_InitStruct.Pull = GPIO_NOPULL;
  GPIO_InitStruct.Speed = GPIO_SPEED_FREQ_LOW;
  HAL_GPIO_Init(GPIOA, &GPIO_InitStruct);

  GPIO_InitStruct.Pin = Bouton3_Pin;
  GPIO_InitStruct.Mode = GPIO_MODE_IT_RISING_FALLING;
  GPIO_InitStruct.Pull = GPIO_PULLUP;
  HAL_GPIO_Init(Bouton3_GPIO_Port, &GPIO_InitStruct);

  GPIO_InitStruct.Pin = ARD_D7_Pin;
  GPIO_InitStruct.Mode = GPIO_MODE_ANALOG_ADC_CONTROL;
  GPIO_InitStruct.Pull = GPIO_NOPULL;
  HAL_GPIO_Init(ARD_D7_GPIO_Port, &GPIO_InitStruct);

  GPIO_InitStruct.Pin = ARD_D13_Pin|ARD_D12_Pin|ARD_D11_Pin;
  GPIO_InitStruct.Mode = GPIO_MODE_AF_PP;
  GPIO_InitStruct.Pull = GPIO_NOPULL;
  GPIO_InitStruct.Speed = GPIO_SPEED_FREQ_VERY_HIGH;
  GPIO_InitStruct.Alternate = GPIO_AF5_SPI1;
  HAL_GPIO_Init(GPIOA, &GPIO_InitStruct);

  GPIO_InitStruct.Pin = Bouton2_Pin|Bouton5_Pin|Bouton6_Pin|Bouton4_Pin;
  GPIO_InitStruct.Mode = GPIO_MODE_IT_RISING_FALLING;
  GPIO_InitStruct.Pull = GPIO_PULLUP;
  HAL_GPIO_Init(GPIOB, &GPIO_InitStruct);

  GPIO_InitStruct.Pin = ISM43362_BOOT0_Pin|ISM43362_WAKEUP_Pin|LED2_Pin|SPSGRF_915_SDN_Pin
                          |SPSGRF_915_SPI3_CSN_Pin;
  GPIO_InitStruct.Mode = GPIO_MODE_OUTPUT_PP;
  GPIO_InitStruct.Pull = GPIO_NOPULL;
  GPIO_InitStruct.Speed = GPIO_SPEED_FREQ_LOW;
  HAL_GPIO_Init(GPIOB, &GPIO_InitStruct);

  GPIO_InitStruct.Pin = LPS22HB_INT_DRDY_EXTI0_Pin|LSM6DSL_INT1_EXTI11_Pin|HTS221_DRDY_EXTI15_Pin;
  GPIO_InitStruct.Mode = GPIO_MODE_IT_RISING;
  GPIO_InitStruct.Pull = GPIO_NOPULL;
  HAL_GPIO_Init(GPIOD, &GPIO_InitStruct);

  GPIO_InitStruct.Pin = USB_OTG_FS_PWR_EN_Pin|SPBTLE_RF_SPI3_CSN_Pin|PMOD_RESET_Pin|STSAFE_A100_RESET_Pin;
  GPIO_InitStruct.Mode = GPIO_MODE_OUTPUT_PP;
  GPIO_InitStruct.Pull = GPIO_NOPULL;
  GPIO_InitStruct.Speed = GPIO_SPEED_FREQ_LOW;
  HAL_GPIO_Init(GPIOD, &GPIO_InitStruct);

  GPIO_InitStruct.Pin = Bouton1_Pin;
  GPIO_InitStruct.Mode = GPIO_MODE_IT_RISING_FALLING;
  GPIO_InitStruct.Pull = GPIO_PULLUP;
  HAL_GPIO_Init(Bouton1_GPIO_Port, &GPIO_InitStruct);

  GPIO_InitStruct.Pin = VL53L0X_XSHUT_Pin|LED3_WIFI__LED4_BLE_Pin;
  GPIO_InitStruct.Mode = GPIO_MODE_OUTPUT_PP;
  GPIO_InitStruct.Pull = GPIO_NOPULL;
  GPIO_InitStruct.Speed = GPIO_SPEED_FREQ_LOW;
  HAL_GPIO_Init(GPIOC, &GPIO_InitStruct);

  GPIO_InitStruct.Pin = VL53L0X_GPIO1_EXTI7_Pin|LSM3MDL_DRDY_EXTI8_Pin;
  GPIO_InitStruct.Mode = GPIO_MODE_IT_RISING;
  GPIO_InitStruct.Pull = GPIO_NOPULL;
  HAL_GPIO_Init(GPIOC, &GPIO_InitStruct);

  GPIO_InitStruct.Pin = PMOD_SPI2_SCK_Pin;
  GPIO_InitStruct.Mode = GPIO_MODE_AF_PP;
  GPIO_InitStruct.Pull = GPIO_NOPULL;
  GPIO_InitStruct.Speed = GPIO_SPEED_FREQ_VERY_HIGH;
  GPIO_InitStruct.Alternate = GPIO_AF5_SPI2;
  HAL_GPIO_Init(PMOD_SPI2_SCK_GPIO_Port, &GPIO_InitStruct);

  GPIO_InitStruct.Pin = PMOD_UART2_CTS_Pin|PMOD_UART2_RTS_Pin|PMOD_UART2_TX_Pin|PMOD_UART2_RX_Pin;
  GPIO_InitStruct.Mode = GPIO_MODE_AF_PP;
  GPIO_InitStruct.Pull = GPIO_NOPULL;
  GPIO_InitStruct.Speed = GPIO_SPEED_FREQ_VERY_HIGH;
  GPIO_InitStruct.Alternate = GPIO_AF7_USART2;
  HAL_GPIO_Init(GPIOD, &GPIO_InitStruct);

  GPIO_InitStruct.Pin = ARD_D15_Pin|ARD_D14_Pin;
  GPIO_InitStruct.Mode = GPIO_MODE_AF_OD;
  GPIO_InitStruct.Pull = GPIO_NOPULL;
  GPIO_InitStruct.Speed = GPIO_SPEED_FREQ_VERY_HIGH;
  GPIO_InitStruct.Alternate = GPIO_AF4_I2C1;
  HAL_GPIO_Init(GPIOB, &GPIO_InitStruct);

  /* EXTI interrupt init */
  HAL_NVIC_SetPriority(EXTI0_IRQn, 0, 0);
  HAL_NVIC_EnableIRQ(EXTI0_IRQn);

  HAL_NVIC_SetPriority(EXTI1_IRQn, 0, 0);
  HAL_NVIC_EnableIRQ(EXTI1_IRQn);

  HAL_NVIC_SetPriority(EXTI2_IRQn, 0, 0);
  HAL_NVIC_EnableIRQ(EXTI2_IRQn);

  HAL_NVIC_SetPriority(EXTI3_IRQn, 0, 0);
  HAL_NVIC_EnableIRQ(EXTI3_IRQn);

  HAL_NVIC_SetPriority(EXTI4_IRQn, 0, 0);
  HAL_NVIC_EnableIRQ(EXTI4_IRQn);

  HAL_NVIC_SetPriority(EXTI9_5_IRQn, 0, 0);
  HAL_NVIC_EnableIRQ(EXTI9_5_IRQn);

  HAL_NVIC_SetPriority(EXTI15_10_IRQn, 0, 0);
  HAL_NVIC_EnableIRQ(EXTI15_10_IRQn);

}

/* USER CODE BEGIN 4 */

void EXTI0_IRQHandler(void)
{
  HAL_GPIO_EXTI_IRQHandler(Bouton2_Pin);
}

void EXTI1_IRQHandler(void)
{
  HAL_GPIO_EXTI_IRQHandler(Bouton5_Pin);
}

void EXTI2_IRQHandler(void)
{
  HAL_GPIO_EXTI_IRQHandler(Bouton6_Pin);
}

void EXTI3_IRQHandler(void)
{
  HAL_GPIO_EXTI_IRQHandler(Bouton3_Pin);
}

void EXTI4_IRQHandler(void)
{
  HAL_GPIO_EXTI_IRQHandler(Bouton4_Pin);
}

void HAL_GPIO_EXTI_Callback(uint16_t GPIO_Pin)
{
  int8_t index = Button_GetIndexFromPin(GPIO_Pin);

  if (index < 0)
  {
    return;
  }

  uint32_t now = HAL_GetTick();

  if ((now - g_button_last_irq_tick[index]) < BUTTON_DEBOUNCE_MS)
  {
    return;
  }

  g_button_last_irq_tick[index] = now;

  /*
   * Comme les boutons sont en RISING_FALLING :
   * - falling : appui
   * - rising  : relâchement
   *
   * On prend seulement l'appui réel.
   */
  if (Button_IsPressed((uint8_t)index) != 0U)
  {
    g_button_event_pending[index] = 1U;
  }
}

/* USER CODE END 4 */

void Error_Handler(void)
{
  __disable_irq();
  while (1)
  {
  }
}
